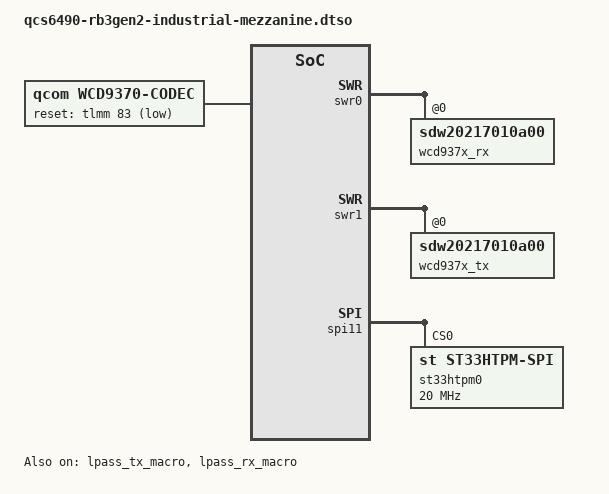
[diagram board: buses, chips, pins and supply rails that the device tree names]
// SPDX-License-Identifier: BSD-3-Clause
/*
 * Copyright (c) 2025, Qualcomm Innovation Center, Inc. All rights reserved.
*/

/dts-v1/;
/plugin/;
#include <dt-bindings/clock/qcom,gcc-sc7280.h>
#include <dt-bindings/pinctrl/qcom,pmic-gpio.h>
#include <dt-bindings/gpio/gpio.h>
#include <dt-bindings/sound/qcom,q6afe.h>

&{/} {
	wcd9370: audio-codec-0 {
		compatible = "qcom,wcd9370-codec";

		pinctrl-0 = <&wcd_default>;
		pinctrl-names = "default";

		reset-gpios = <&tlmm 83 GPIO_ACTIVE_LOW>;
		qcom,always-on-supply;
		qcom,micbias1-microvolt = <1800000>;
		qcom,micbias2-microvolt = <1800000>;
		qcom,micbias3-microvolt = <1800000>;
		qcom,micbias4-microvolt = <1800000>;
		qcom,hphl-jack-type-normally-closed = <1>;
		qcom,ground-jack-type-normally-closed = <1>;
		qcom,rx-device = <&wcd937x_rx>;
		qcom,tx-device = <&wcd937x_tx>;

		#sound-dai-cells = <1>;
	};
};

&tlmm {
        wcd_default: wcd-reset-n-active-state {
                pins = "gpio83";
                function = "gpio";
                drive-strength = <16>;
                bias-disable;
        };
};

&swr0 {
	status = "okay";

	wcd937x_rx: codec@0,4 {
	compatible = "sdw20217010a00";
	reg = <0 4>;

	/*
	* WCD9370 RX Port 1 (HPH_L/R)       <==>    SWR1 Port 1 (HPH_L/R)
	* WCD9370 RX Port 2 (CLSH)          <==>    SWR1 Port 2 (CLSH)
	* WCD9370 RX Port 3 (COMP_L/R)      <==>    SWR1 Port 3 (COMP_L/R)
	* WCD9370 RX Port 4 (LO)            <==>    SWR1 Port 4 (LO)
	* WCD9370 RX Port 5 (DSD_L/R)       <==>    SWR1 Port 5 (DSD)
	*/
	qcom,rx-port-mapping = <1 2 3 4 5>;

	/*
	* Static channels mapping between slave and master rx port channels.
	* In the order of slave port channels, which is
	* hph_l, hph_r, clsh, comp_l, comp_r, lo, dsd_r, dsd_l.
	*/
	qcom,rx-channel-mapping = /bits/ 8 <1 2 1 1 2 1 1 2>;
	};
};

&swr1 {
	status = "okay";
	wcd937x_tx: codec@0,3 {
	compatible = "sdw20217010a00";
	reg = <0 3>;

	/*
	* WCD9370 TX Port 1 (ADC1)               <=> SWR2 Port 2
	* WCD9370 TX Port 2 (ADC2, 3)            <=> SWR2 Port 2
	* WCD9370 TX Port 3 (DMIC0,1,2,3 & MBHC) <=> SWR2 Port 3
	* WCD9370 TX Port 4 (DMIC4,5,6,7)        <=> SWR2 Port 4
	*/
	qcom,tx-port-mapping = <1 1 2 3>;

	/*
	* Static channel mapping between slave and master tx port channels.
	* In the order of slave port channels which is adc1, adc2, adc3,
	* mic0, dmic1, mbhc, dmic2, dmic3, dmci4, dmic5, dmic6, dmic7.
	*/
	qcom,tx-channel-mapping = /bits/ 8 <1 2 1 1 2 3 3 4 1 2 3 4>;
	};
};

&lpass_tx_macro {
	status = "okay";
};

&lpass_rx_macro {
	status = "okay";
};

&spi11 {
	#address-cells = <1>;
	#size-cells = <0>;
	status = "okay";

	st33htpm0: tpm@0 {
		compatible = "st,st33htpm-spi", "tcg,tpm_tis-spi";
		reg = <0>;
		spi-max-frequency = <20000000>;
	};
};

&sound {
	model = "qcs6490-rb3gen2-ia-snd-card";
	audio-routing = "SpkrLeft IN", "WSA_SPK1 OUT",
		"SpkrRight IN", "WSA_SPK2 OUT",
		"IN1_HPHL", "HPHL_OUT",
		"IN2_HPHR", "HPHR_OUT",
		"AMIC2", "MIC BIAS2",
		"TX SWR_ADC1", "ADC2_OUTPUT",
		"VA DMIC0", "vdd-micb",
		"VA DMIC1", "vdd-micb",
		"VA DMIC2", "vdd-micb",
		"VA DMIC3", "vdd-micb";

	wcd-playback-dai-link {
		link-name = "WCD Playback";

		codec {
			sound-dai = <&wcd9370 0>, <&swr0 0>, <&lpass_rx_macro 0>;
		};

		cpu {
			sound-dai = <&q6apmbedai RX_CODEC_DMA_RX_0>;
		};

		platform {
			sound-dai = <&q6apm>;
		};
	};

	wcd-capture-dai-link {
		link-name = "WCD Capture";

		codec {
			sound-dai = <&wcd9370 1>, <&swr1 0>, <&lpass_tx_macro 0>;
		};

		cpu {
			sound-dai = <&q6apmbedai TX_CODEC_DMA_TX_3>;
		};

		platform {
			sound-dai = <&q6apm>;
		};
	};
};
